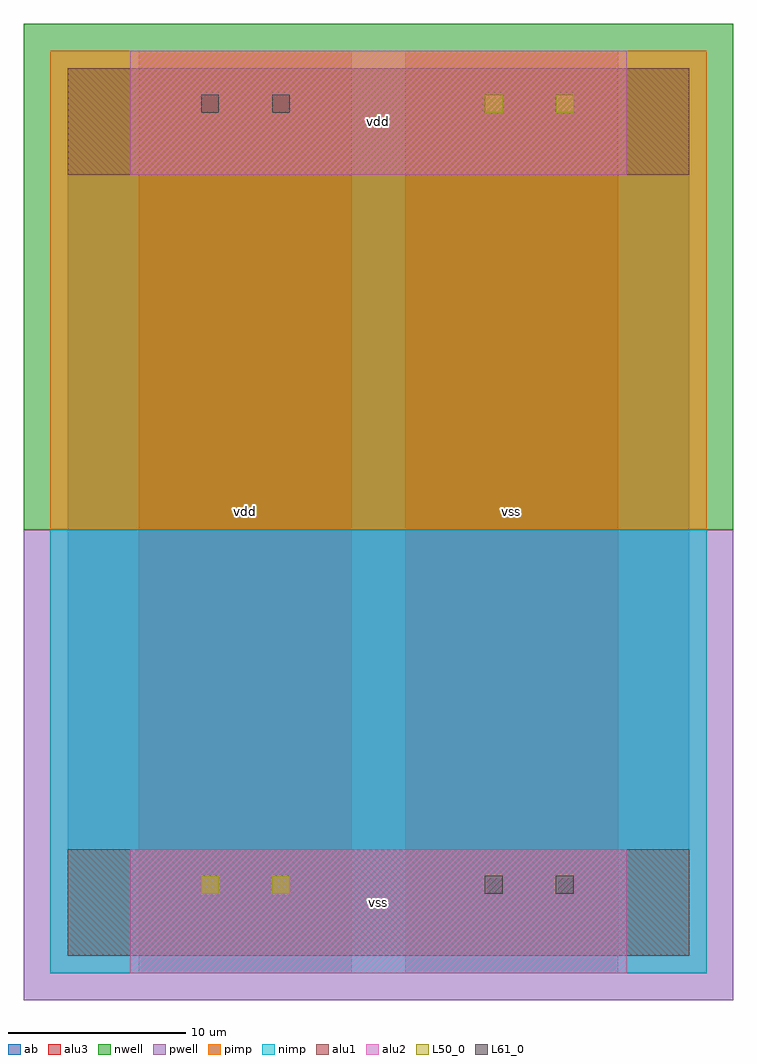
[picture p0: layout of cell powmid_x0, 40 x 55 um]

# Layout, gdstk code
import gdstk
lib = gdstk.Library(unit=1e-6, precision=1e-09)
def R(c, l, rs):  # rectangles x0, y0, x1, y1
    for r in rs: c.add(gdstk.rectangle(r[:2], r[2:], *l))
pwell = (41, 0)
nwell = (42, 0)
pimp = (44, 0)
nimp = (45, 0)
alu1 = (49, 0)
L50_0 = (50, 0)
alu2 = (51, 0)
L61_0 = (61, 0)
alu3 = (62, 0)
ab = (63, 0)

powmid_x0 = lib.new_cell('powmid_x0')
R(powmid_x0, pwell, [(-2.5,-2.5,37.5,24)])
R(powmid_x0, nwell, [(-2.5,24,37.5,52.5)])
R(powmid_x0, pimp, [(-1,24,36,51)])
R(powmid_x0, nimp, [(-1,-1,36,24)])
R(powmid_x0, alu1, [(0,0,35,6), (0,0,35,6), (0,44,35,50), (0,44,35,50)])
R(powmid_x0, L50_0, [(7.5,3.5,8.5,4.5), (11.5,3.5,12.5,4.5), (23.5,47.5,24.5,48.5), (27.5,47.5,28.5,48.5)])
R(powmid_x0, alu2, [(3.5,-1,31.5,6), (3.5,-1,31.5,6), (3.5,44,31.5,51), (3.5,44,31.5,51)])
R(powmid_x0, L61_0, [(23.5,3.5,24.5,4.5), (27.5,3.5,28.5,4.5), (7.5,47.5,8.5,48.5), (11.5,47.5,12.5,48.5)])
R(powmid_x0, alu3, [(4,-1,16,51), (19,-1,31,51)])
R(powmid_x0, ab, [(0,0,35,50)])
powmid_x0.add(gdstk.Label('vss', (17.5,3), layer=49, texttype=0))
powmid_x0.add(gdstk.Label('vdd', (17.5,47), layer=49, texttype=0))
powmid_x0.add(gdstk.Label('vss', (17.5,3), layer=51, texttype=0))
powmid_x0.add(gdstk.Label('vdd', (17.5,47), layer=51, texttype=0))
powmid_x0.add(gdstk.Label('vdd', (10,25), layer=62, texttype=0))
powmid_x0.add(gdstk.Label('vss', (25,25), layer=62, texttype=0))

lib.write_gds('powmid_x0.gds')
